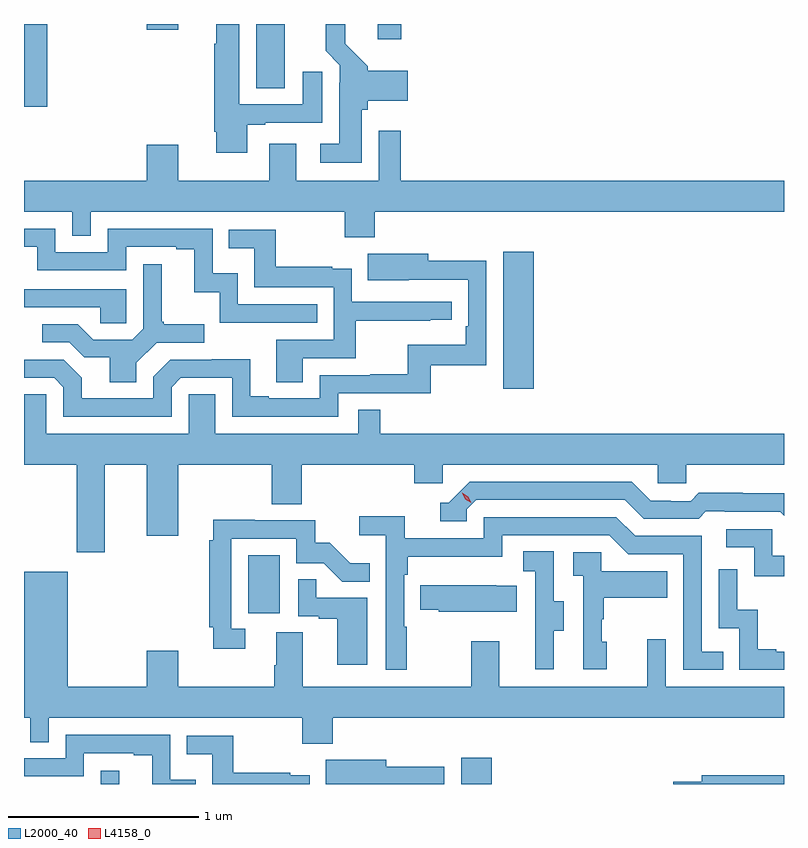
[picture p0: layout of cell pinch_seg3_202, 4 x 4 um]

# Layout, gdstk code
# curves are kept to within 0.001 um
import gdstk
lib = gdstk.Library(unit=1e-6, precision=1e-09)
def R(c, l, rs):  # rectangles x0, y0, x1, y1
    for r in rs: c.add(gdstk.rectangle(r[:2], r[2:], *l))
def P(c, l, *ps):  # polygons
    for p in ps: c.add(gdstk.Polygon(p, *l))
L2000_40 = (2000, 40)
L4158_0 = (4158, 0)

pinch_seg3_202 = lib.new_cell('pinch_seg3_202')
R(pinch_seg3_202, L2000_40, [(967.962,739.196,968.059,739.267), (969.857,739.196,970.018,739.333), (968.738,740.094,968.902,740.401), (970.079,741.276,970.24,741.997), (967.557,742.761,967.679,743.196), (968.78,742.858,968.929,743.196), (969.419,743.115,969.542,743.196), (968.204,743.166,968.368,743.196)])
P(pinch_seg3_202, L2000_40, [(968.731,742.665),(968.827,742.665),(968.827,742.677),(969.127,742.677),(969.127,742.945),(969.023,742.945),(969.023,742.773),(968.689,742.773),(968.689,743.196),(968.57,743.196),(968.57,743.092),(968.558,743.092),(968.558,742.63),(968.57,742.63),(968.57,742.518),(968.731,742.518)],
  [(969.334,742.746),(969.365,742.746),(969.365,742.793),(969.577,742.793),(969.577,742.951),(969.365,742.951),(969.365,742.974),(969.247,743.092),(969.247,743.196),(969.145,743.196),(969.145,743.054),(969.219,742.98),(969.219,742.886),(969.215,742.886),(969.215,742.567),(969.117,742.567),(969.117,742.466),(969.334,742.466)],
  [(969.404,742.208),(971.557,742.208),(971.557,742.372),(969.539,742.372),(969.539,742.633),(969.423,742.633),(969.423,742.372),(968.989,742.372),(968.989,742.567),(968.849,742.567),(968.849,742.372),(968.368,742.372),(968.368,742.561),(968.204,742.561),(968.204,742.372),(967.557,742.372),(967.557,742.208),(967.812,742.208),(967.812,742.081),(967.908,742.081),(967.908,742.208),(969.244,742.208),(969.244,742.073),(969.404,742.073)],
  [(969.101,741.72),(968.682,741.72),(968.682,741.883),(968.55,741.883),(968.55,742.119),(967.998,742.119),(967.998,741.996),(967.722,741.996),(967.722,742.119),(967.557,742.119),(967.557,742.023),(967.626,742.023),(967.626,741.9),(968.094,741.9),(968.094,742.023),(968.357,742.023),(968.357,742.011),(968.453,742.011),(968.453,741.785),(968.586,741.785),(968.586,741.624),(969.101,741.624)],
  [(969.025,741.438),(969.302,741.438),(969.302,741.634),(969.695,741.634),(969.695,741.639),(969.808,741.639),(969.808,741.735),(969.282,741.735),(969.282,741.907),(969.179,741.907),(969.179,741.919),(968.881,741.919),(968.881,742.113),(968.635,742.113),(968.635,742.016),(968.77,742.016),(968.77,741.81),(969.186,741.81),(969.186,741.534),(968.885,741.534),(968.885,741.31),(969.025,741.31)],
  [(968.334,741.285),(968.382,741.333),(968.652,741.333),(968.652,741.129),(969.21,741.129),(969.21,741.252),(969.697,741.252),(969.697,741.399),(969.99,741.399),(969.99,741.95),(969.685,741.95),(969.685,741.988),(969.367,741.988),(969.367,741.848),(969.894,741.849),(969.894,741.604),(969.881,741.604),(969.881,741.508),(969.576,741.508),(969.576,741.353),(969.379,741.353),(969.379,741.348),(969.114,741.348),(969.114,741.225),(968.845,741.225),(968.845,741.238),(968.749,741.238),(968.749,741.431),(968.544,741.431),(968.544,741.429),(968.328,741.429),(968.238,741.339),(968.238,741.225),(967.861,741.225),(967.861,741.335),(967.767,741.429),(967.557,741.429),(967.557,741.333),(967.716,741.333),(967.764,741.285),(967.764,741.129),(968.334,741.129)],
  [(968.149,741.412),(968.256,741.519),(968.506,741.519),(968.506,741.616),(968.293,741.616),(968.293,741.628),(968.281,741.628),(968.281,741.931),(968.184,741.931),(968.184,741.591),(968.127,741.534),(967.921,741.534),(967.84,741.615),(967.653,741.615),(967.653,741.522),(967.794,741.522),(967.874,741.442),(968.009,741.442),(968.009,741.31),(968.149,741.31)],
  [(968.094,741.801),(967.557,741.801),(967.557,741.705),(967.957,741.705),(967.957,741.621),(968.094,741.621)],
  [(967.981,740.876),(968.204,740.876),(968.204,740.502),(968.368,740.502),(968.368,740.876),(968.86,740.876),(968.86,740.668),(969.02,740.668),(969.02,740.876),(969.611,740.876),(969.611,740.778),(969.762,740.778),(969.762,740.876),(970.893,740.876),(970.893,740.778),(971.043,740.778),(971.043,740.876),(971.557,740.876),(971.557,741.04),(969.431,741.04),(969.431,741.167),(969.315,741.167),(969.315,741.04),(968.563,741.04),(968.563,741.248),(968.424,741.248),(968.424,741.04),(967.674,741.04),(967.674,741.248),(967.557,741.248),(967.557,740.876),(967.834,740.876),(967.834,740.415),(967.981,740.415)],
  [(969.888,740.643),(969.936,740.691),(970.719,740.691),(970.818,740.592),(971.107,740.592),(971.146,740.631),(971.245,740.631),(971.245,740.628),(971.538,740.628),(971.557,740.609),(971.557,740.725),(971.34,740.725),(971.34,740.728),(971.107,740.728),(971.065,740.685),(970.962,740.685),(970.962,740.688),(970.855,740.688),(970.756,740.787),(969.903,740.787),(969.792,740.676),(969.749,740.676),(969.749,740.58),(969.888,740.58)],
  [(969.571,740.024),(969.558,740.024),(969.558,740.297),(969.578,740.297),(969.578,740.393),(970.074,740.393),(970.074,740.505),(970.638,740.505),(970.737,740.406),(971.028,740.406),(971.028,739.797),(971.237,739.797),(971.237,739.893),(971.124,739.893),(971.124,740.502),(970.774,740.502),(970.675,740.601),(969.978,740.601),(969.978,740.49),(969.56,740.49),(969.56,740.606),(969.321,740.606),(969.321,740.504),(969.462,740.504),(969.462,739.797),(969.571,739.797)],
  [(968.722,740.013),(968.649,740.013),(968.649,740.487),(968.991,740.487),(968.991,740.358),(969.135,740.358),(969.233,740.26),(969.377,740.26),(969.377,740.359),(969.273,740.359),(969.166,740.466),(969.09,740.466),(969.09,740.583),(968.771,740.583),(968.771,740.588),(968.552,740.588),(968.552,740.48),(968.533,740.48),(968.533,740.02),(968.552,740.02),(968.552,739.908),(968.722,739.908)],
  [(971.557,740.397),(971.496,740.397),(971.496,740.538),(971.253,740.538),(971.253,740.442),(971.4,740.442),(971.4,740.289),(971.557,740.289)],
  [(970.345,740.002),(970.399,740.002),(970.399,740.157),(970.344,740.157),(970.344,740.42),(970.185,740.42),(970.185,740.317),(970.248,740.317),(970.248,740.013),(970.247,740.013),(970.247,739.8),(970.345,739.8)],
  [(970.624,739.944),(970.599,739.944),(970.599,740.063),(970.609,740.063),(970.609,740.177),(970.943,740.177),(970.943,740.317),(970.596,740.317),(970.596,740.415),(970.449,740.415),(970.449,740.291),(970.5,740.291),(970.5,739.8),(970.624,739.8)],
  [(971.557,739.893),(971.515,739.893),(971.515,739.906),(971.42,739.906),(971.42,740.114),(971.31,740.114),(971.31,740.326),(971.214,740.326),(971.214,740.016),(971.322,740.016),(971.322,739.797),(971.557,739.797)],
  [(969.182,739.544),(971.557,739.544),(971.557,739.708),(970.935,739.708),(970.935,739.957),(970.838,739.957),(970.838,739.708),(970.057,739.708),(970.057,739.948),(969.91,739.948),(969.91,739.708),(969.025,739.708),(969.025,739.994),(968.885,739.994),(968.885,739.82),(968.873,739.82),(968.873,739.708),(968.368,739.708),(968.368,739.897),(968.204,739.897),(968.204,739.708),(967.786,739.708),(967.786,740.314),(967.557,740.314),(967.557,739.544),(967.59,739.544),(967.59,739.417),(967.686,739.417),(967.686,739.544),(969.022,739.544),(969.022,739.409),(969.182,739.409)],
  [(969.364,740.175),(969.095,740.175),(969.095,740.273),(969,740.273),(969,740.079),(969.107,740.079),(969.107,740.067),(969.206,740.067),(969.206,739.824),(969.364,739.824)],
  [(970.151,740.239),(970.043,740.239),(970.043,740.242),(969.643,740.242),(969.643,740.113),(969.741,740.113),(969.741,740.102),(970.151,740.102)],
  [(968.46,739.219),(968.328,739.219),(968.328,739.455),(967.776,739.455),(967.776,739.332),(967.557,739.332),(967.557,739.236),(967.872,739.236),(967.872,739.359),(968.135,739.359),(968.135,739.347),(968.231,739.347),(968.231,739.196),(968.46,739.196)],
  [(969.06,739.243),(968.957,739.243),(968.957,739.255),(968.659,739.255),(968.659,739.449),(968.413,739.449),(968.413,739.352),(968.548,739.352),(968.548,739.196),(969.06,739.196)],
  [(969.768,739.286),(969.463,739.286),(969.463,739.324),(969.145,739.324),(969.145,739.196),(969.768,739.196)],
  [(971.557,739.243),(971.123,739.243),(971.123,739.209),(970.974,739.209),(970.974,739.196),(971.557,739.196)])
P(pinch_seg3_202, L4158_0, [(969.91,740.675),(969.88,740.695),(969.864,740.728),(969.864,740.728),(969.864,740.728),(969.895,740.708),(969.911,740.676),(969.911,740.675)])

lib.write_gds('pinch_seg3_202.gds')
